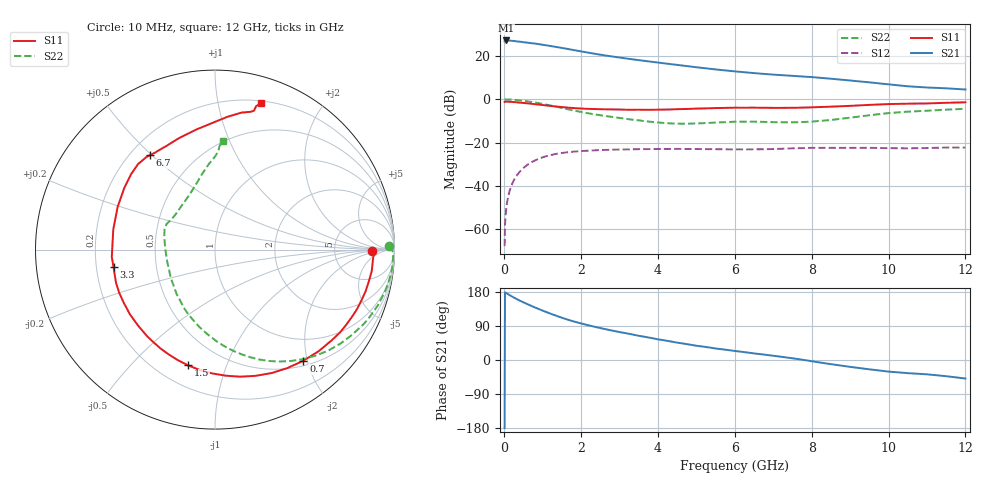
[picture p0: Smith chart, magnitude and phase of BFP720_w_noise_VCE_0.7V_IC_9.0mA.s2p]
! Infineon Technologies  Discrete & RF Semiconductors
! BFP720
! VCE =  0.7 V,  IC =  9.0 mA
! Common Emitter S-Parameters:  Aug 2012
# GHz  S  MA  R  50
!  f  S11  S21  S12  S22
! GHz  MAG  ANG  MAG  ANG  MAG  ANG  MAG  ANG
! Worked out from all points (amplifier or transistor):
!   105 points, 10 MHz to 12 GHz, reference 50 ohm
!   highest |S21| = 27.3 dB at 50 MHz (marker M1)
!   |S21| within 3 dB of that: start of sweep to 1.35 GHz
!   unconditionally stable (mu >= 1): start of sweep to 11.92 MHz; 5.891 GHz to 11.99 GHz
!   at 300 MHz: K = 0.08, MSG = 31.4 dB, |S12| = -35.9 dB
!   at 3.6 GHz: K = 0.65, MSG = 20.5 dB, |S12| = -23.0 dB
!   at 12 GHz: K = 1.00, MSG = 13.4 dB, |S12| = -22.3 dB
!   lowest NFmin = 0.50 dB at 450 MHz
!   S11 on the Smith chart (normalised r, x): 10 MHz: 15, -1; 700 MHz: 0.58, -1.93; 1.5 GHz: 0.32, -0.74; 3.3 GHz: 0.27, -0.08; 6.7 GHz: 0.28, +0.49; 12 GHz: 0.22, +1.34
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0.01  0.8737 -0.4  22.28 -179.7  0.0004 25.2  0.9707 1.2
0.02  0.8854 -1.6  22.76 178.7  0.0012 76.9  0.9922 -0.8
0.05  0.8816 -3.8  23.06 176.8  0.0028 86.1  0.9929 -2.6
0.15  0.8749 -11.8  22.84 170.6  0.0081 83.7  0.9886 -8.2
0.35  0.8492 -26.6  21.82 159.5  0.0185 75.4  0.9588 -19.0
0.5  0.8245 -37.5  20.99 152.1  0.0258 69.4  0.9255 -26.8
0.7  0.7911 -51.5  19.95 143.0  0.0347 61.8  0.8736 -36.8
0.9  0.7569 -65.3  18.93 134.5  0.0422 54.8  0.8157 -46.3
1.1  0.7217 -78.8  17.74 126.3  0.0485 48.3  0.7532 -55.4
1.3  0.6901 -91.3  16.62 118.7  0.0535 42.5  0.6915 -63.9
1.5  0.6622 -103.1  15.47 111.6  0.0573 37.3  0.632 -71.7
1.8  0.6286 -119.0  13.86 102.0  0.0616 30.7  0.5539 -82.6
2.1  0.6065 -131.7  12.42 94.0  0.0643 25.4  0.4913 -91.9
2.6  0.5885 -149.4  10.47 82.0  0.0674 18.3  0.4154 -106.3
3.3  0.574 -170.1  8.528 68.1  0.0697 10.9  0.3419 -125.1
4.1  0.5783 166.4  6.926 53.0  0.0711 4.0  0.2866 -150.8
5  0.6109 145.9  5.535 37.6  0.0708 -2.3  0.2777 178.5
6.1  0.6407 130.9  4.359 22.6  0.0695 -6.7  0.3035 156.6
6.7  0.6387 124.6  3.918 15.0  0.07 -7.7  0.3015 149.9
8.5  0.6768 98.9  3.001 -11.0  0.0755 -16.4  0.3328 116.2
10.5  0.7936 75.4  2.005 -34.7  0.0734 -24.5  0.5184 90.0
12  0.8547 72.5  1.69 -48.9  0.0766 -30.5  0.606 86.0
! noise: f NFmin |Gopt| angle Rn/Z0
0.45  0.5  0.31  1  0.2
1.8  0.56  0.29  20  0.12
2.4  0.62  0.24  42  0.27
5.5  0.76  0.12  33  0.15
10  0.95  0.4  -81  0.22
